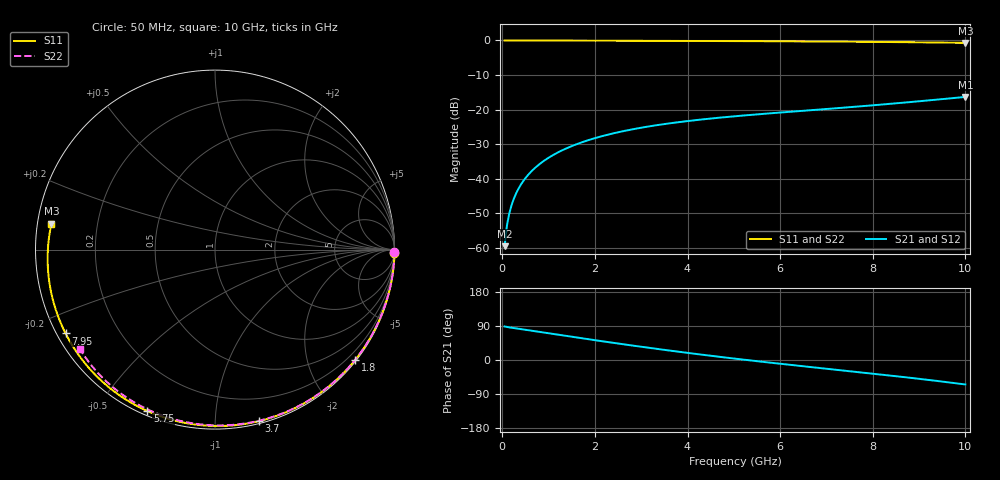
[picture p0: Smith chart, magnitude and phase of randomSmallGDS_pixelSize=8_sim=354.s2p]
! freq	dB(S11)	phase(S11)	dB(S12)	phase(S12)
!  dB(S21)	phase(S21)	dB(S22)	phase(S22)
!S-par simulation data
#  GHz  S  DB  R 50
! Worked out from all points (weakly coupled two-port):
!   200 points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, 50 MHz to 10 GHz, reference 50 ohm
!   highest |S21| = -16.35 dB at 10 GHz (marker M1); lowest = -59.6 dB at 50 MHz (marker M2)
!   lowest |S11| = -0.7 dB at 10 GHz (marker M3), VSWR 24.90, Z = 2.02 + j3.91 ohm
!   |S11| at or under -10 dB: nowhere
!   |S22| runs from -0.6 to 0.0 dB; largest |S21 - S12| = 0
!   S11 on the Smith chart (normalised r, x): 50 MHz: open; 1.8 GHz: 0.03, -2.89; 3.7 GHz: 0.02, -1.29; 5.75 GHz: 0.02, -0.67; 7.95 GHz: 0.02, -0.26; 10 GHz: 0.04, +0.08
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0.05  -0.00 -1.1  -59.58 88.5  -59.58 88.5  -0.00 -0.8
0.1  -0.00 -2.2  -53.62 87.2  -53.62 87.2  -0.00 -1.7
0.15  -0.00 -3.2  -50.15 86.1  -50.15 86.1  -0.00 -2.5
0.2  -0.00 -4.3  -47.70 85.1  -47.70 85.1  -0.00 -3.4
0.35  -0.01 -7.6  -42.93 82.4  -42.93 82.4  -0.00 -5.9
0.5  -0.01 -10.8  -39.87 79.8  -39.87 79.8  -0.01 -8.4
0.7  -0.02 -15.1  -37.00 76.1  -37.00 76.1  -0.01 -11.8
1  -0.03 -21.4  -33.97 70.6  -33.97 70.6  -0.02 -16.7
1.35  -0.04 -28.8  -31.46 64.1  -31.46 64.1  -0.03 -22.5
1.75  -0.05 -37.1  -29.35 56.8  -29.35 56.8  -0.04 -29.0
1.8  -0.05 -38.1  -29.13 55.9  -29.13 55.9  -0.04 -29.9
2.6  -0.08 -54.3  -26.30 41.8  -26.30 41.8  -0.06 -42.7
3.4  -0.11 -70.0  -24.41 28.3  -24.41 28.3  -0.09 -55.1
3.7  -0.12 -75.7  -23.85 23.5  -23.85 23.5  -0.10 -59.6
4.35  -0.14 -87.8  -22.83 13.4  -22.83 13.4  -0.12 -69.3
5.05  -0.18 -100.4  -21.92 3.2  -21.92 3.2  -0.15 -79.3
5.75  -0.22 -112.7  -21.14 -6.6  -21.14 -6.6  -0.18 -89.1
6.7  -0.29 -129.1  -20.16 -19.1  -20.16 -19.1  -0.23 -101.8
7.95  -0.40 -150.7  -18.84 -35.3  -18.84 -35.3  -0.33 -117.9
8.35  -0.45 -157.8  -18.39 -40.7  -18.39 -40.7  -0.37 -123.0
9.2  -0.57 -173.3  -17.37 -52.5  -17.37 -52.5  -0.47 -133.6
10  -0.70 171.0  -16.35 -64.6  -16.35 -64.6  -0.59 -143.6
